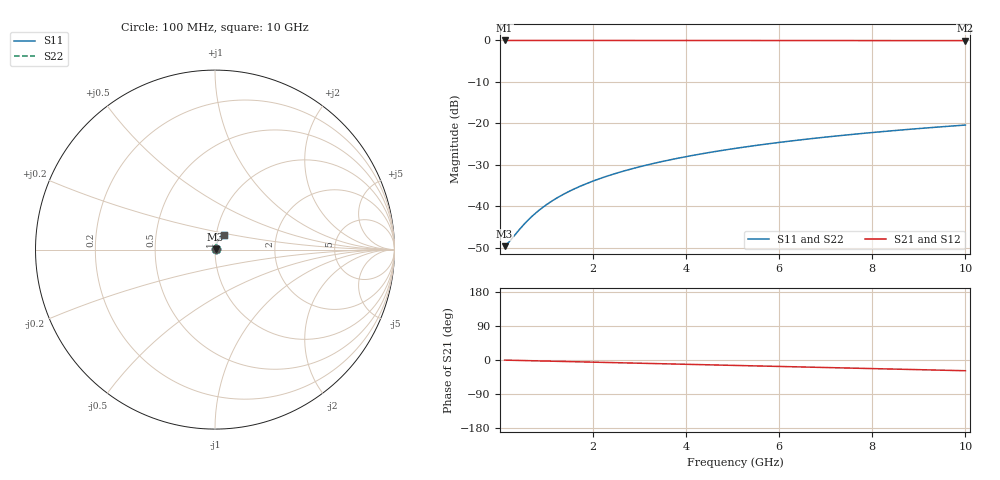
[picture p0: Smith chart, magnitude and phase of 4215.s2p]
# Hz S RI R 50.00
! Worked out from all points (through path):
!   100 points, 100 MHz to 10 GHz, reference 50 ohm
!   highest |S21| = -0.03 dB at 100 MHz (marker M1); lowest = -0.1 dB at 10 GHz (marker M2)
!   group delay of S21, straight-line fit = 7.87 ps
!   lowest |S11| = -49.6 dB at 100 MHz (marker M3), VSWR 1.01, Z = 50.3 + j0.0987 ohm
!   |S11| at or under -10 dB: start of sweep to end of sweep
!   |S22| runs from -49.6 to -20.4 dB; largest |S21 - S12| = 0
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1e8  0.00316 0.000981  0.9968 -0.00493  0.9968 -0.00493  0.00316 0.000981
2e8  0.0032 0.00196  0.9968 -0.00986  0.9968 -0.00986  0.0032 0.00196
4e8  0.00328 0.00392  0.9966 -0.0197  0.9966 -0.0197  0.00328 0.00392
5e8  0.00333 0.0049  0.9965 -0.0246  0.9965 -0.0246  0.00333 0.0049
6e8  0.0034 0.00588  0.9963 -0.0296  0.9963 -0.0296  0.0034 0.00588
7e8  0.00347 0.00686  0.9961 -0.0345  0.9961 -0.0345  0.00347 0.00686
9e8  0.00363 0.00881  0.9957 -0.0443  0.9957 -0.0443  0.00363 0.00881
1.1e9  0.00384 0.0108  0.9952 -0.0542  0.9952 -0.0542  0.00384 0.0108
1.3e9  0.00408 0.0127  0.9946 -0.064  0.9946 -0.064  0.00408 0.0127
1.5e9  0.00436 0.0147  0.9938 -0.0739  0.9938 -0.0739  0.00436 0.0147
1.8e9  0.00485 0.0175  0.9926 -0.0886  0.9926 -0.0886  0.00485 0.0175
2.1e9  0.00542 0.0204  0.9911 -0.1033  0.9911 -0.1033  0.00542 0.0204
2.5e9  0.00632 0.0242  0.9887 -0.1229  0.9887 -0.1229  0.00632 0.0242
2.9e9  0.00737 0.028  0.986 -0.1424  0.986 -0.1424  0.00737 0.028
3.4e9  0.00889 0.0327  0.9819 -0.1667  0.9819 -0.1667  0.00889 0.0327
4.2e9  0.0118 0.0399  0.9743 -0.2054  0.9743 -0.2054  0.0118 0.0399
5.1e9  0.0157 0.0478  0.9637 -0.2484  0.9637 -0.2484  0.0157 0.0478
5.9e9  0.0198 0.0545  0.9527 -0.2862  0.9527 -0.2862  0.0198 0.0545
6.7e9  0.0244 0.0608  0.9402 -0.3235  0.9402 -0.3235  0.0244 0.0608
7.5e9  0.0295 0.0667  0.9261 -0.3602  0.9261 -0.3602  0.0295 0.0667
8.4e9  0.0357 0.0729  0.9086 -0.4008  0.9086 -0.4008  0.0357 0.0729
1e10  0.0481 0.0824  0.873 -0.4706  0.873 -0.4706  0.0481 0.0824
